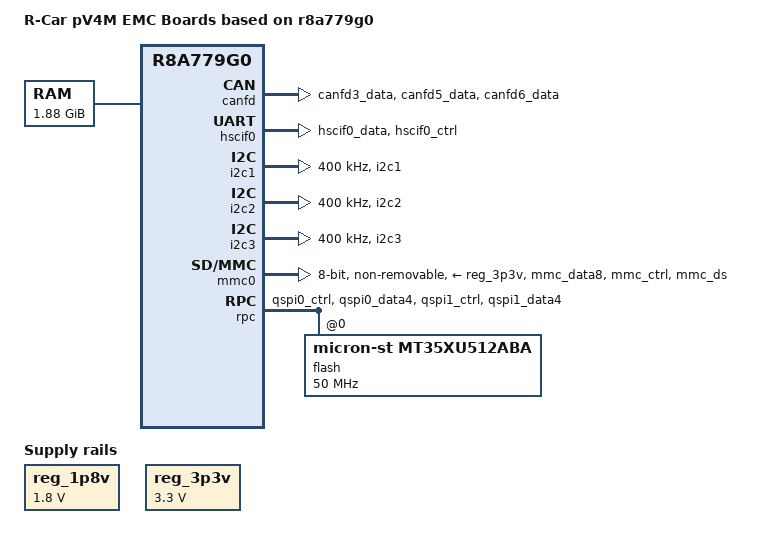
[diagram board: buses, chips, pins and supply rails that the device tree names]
// SPDX-License-Identifier: GPL-2.0
/*
 * Device Tree Source for the R-Car pV4M EMC Board
 *
 * Copyright (C) 2022 Renesas Electronics Corp.
 */

/dts-v1/;
#include "r8a779g0.dtsi"

/ {
	model = "R-Car pV4M EMC Boards based on r8a779g0";
	compatible = "renesas,r8a779g0";

	aliases {
		serial0 = &hscif0;
	};

	chosen {
		stdout-path = "serial0:921600n8";
	};

	memory@48000000 {
		device_type = "memory";
		/* first 128MB is reserved for secure area. */
		reg = <0x0 0x48000000 0x0 0x78000000>;
	};

	reserved-memory {
		#address-cells = <2>;
		#size-cells = <2>;
		ranges;

		/* global autoconfigured region for contiguous allocations */
		linux,cma@80000000 {
			compatible = "shared-dma-pool";
			reusable;
			reg = <0x00000000 0x80000000 0x0 0x18000000>;
			linux,cma-default;
		};
	};

	reg_1p8v: regulator-1p8v {
		compatible = "regulator-fixed";
		regulator-name = "fixed-1.8V";
		regulator-min-microvolt = <1800000>;
		regulator-max-microvolt = <1800000>;
		regulator-boot-on;
		regulator-always-on;
	};

	reg_3p3v: regulator-3p3v {
		compatible = "regulator-fixed";
		regulator-name = "fixed-3.3V";
		regulator-min-microvolt = <3300000>;
		regulator-max-microvolt = <3300000>;
		regulator-boot-on;
		regulator-always-on;
	};
};

&canfd {
	pinctrl-0 = <&canfd3_pins>, <&canfd5_pins>, <&canfd6_pins>;
	pinctrl-names = "default";

	status = "okay";

	channel3 {
		status = "okay";
	};

	channel5 {
		status = "okay";
	};

	channel6 {
		status = "okay";
	};
};

&extal_clk {
	clock-frequency = <16666600>;
};

&extalr_clk {
	clock-frequency = <16666600>;
};

&hscif0 {
	pinctrl-0 = <&hscif0_pins>;
	pinctrl-names = "default";

	uart-has-rtscts;
	/* Please use exclusively to the scif0 node */
	status = "okay";
};

&i2c1 {
	pinctrl-0 = <&i2c1_pins>;
	pinctrl-names = "default";

	status = "okay";
	clock-frequency = <400000>;
};

&i2c2 {
	pinctrl-0 = <&i2c2_pins>;
	pinctrl-names = "default";

	status = "okay";
	clock-frequency = <400000>;
};

&i2c3 {
	pinctrl-0 = <&i2c3_pins>;
	pinctrl-names = "default";

	status = "okay";
	clock-frequency = <400000>;
};

&mmc0 {
	pinctrl-0 = <&mmc_pins>;
	pinctrl-1 = <&mmc_pins>;
	pinctrl-names = "default", "state_uhs";

	vmmc-supply = <&reg_3p3v>;
	vqmmc-supply = <&reg_1p8v>;
	mmc-hs200-1_8v;
	mmc-hs400-1_8v;
	bus-width = <8>;
	no-sd;
	no-sdio;
	non-removable;
	full-pwr-cycle-in-suspend;
	status = "okay";
};

&pfc {
	canfd3_pins: canfd3 {
		groups = "canfd3_data";
		function = "canfd3";
	};

	canfd5_pins: canfd5 {
		groups = "canfd5_data";
		function = "canfd5";
	};

	canfd6_pins: canfd6 {
		groups = "canfd6_data";
		function = "canfd6";
	};

	hscif0_pins: hscif0 {
		groups = "hscif0_data", "hscif0_ctrl";
		function = "hscif0";
	};

	i2c1_pins: i2c1 {
		groups = "i2c1";
		function = "i2c1";
	};

	i2c2_pins: i2c2 {
		groups = "i2c2";
		function = "i2c2";
	};

	i2c3_pins: i2c3 {
		groups = "i2c3";
		function = "i2c3";
	};

	mmc_pins: mmc {
		groups = "mmc_data8", "mmc_ctrl", "mmc_ds";
		function = "mmc";
		power-source = <1800>;
	};

	qspi0_pins: qspi0 {
		groups = "qspi0_ctrl", "qspi0_data4";
		function = "qspi0";
	};

	qspi1_pins: qspi1 {
		groups = "qspi1_ctrl", "qspi1_data4";
		function = "qspi1";
	};
};

&rpc {
	pinctrl-0 = <&qspi0_pins>, <&qspi1_pins>;
	pinctrl-names = "default";

	status = "okay";

	flash@0 {
		compatible = "micron-st,mt35xu512aba", "jedec,spi-nor";
		reg = <0>;
		spi-max-frequency = <50000000>;
		spi-rx-bus-width = <8>;
		spi-tx-bus-width = <8>;
	};
};
